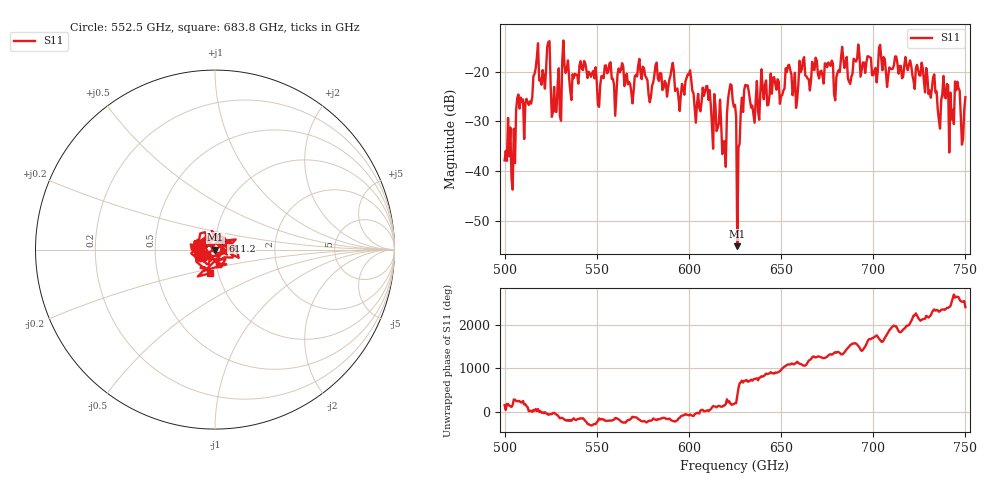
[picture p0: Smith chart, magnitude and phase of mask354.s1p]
!Created with skrf (http://scikit-rf.org).
# GHz S MA R 50.0
!freq magS11 angS11
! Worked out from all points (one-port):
!   401 points, 500 GHz to 750 GHz, reference 50 ohm
!   lowest |S11| = -55.2 dB at 626.2 GHz (marker M1), VSWR 1.00, Z = 50.2 + j0.0308 ohm
!   |S11| at or under -10 dB: start of sweep to end of sweep
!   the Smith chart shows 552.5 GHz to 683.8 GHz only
!   S11 on the Smith chart (normalised r, x): 552.5 GHz: 0.85, -0.07; 611.2 GHz: 1.08, +0.11; 683.8 GHz: 0.91, -0.25
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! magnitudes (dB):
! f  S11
! 500 GHz  -37.9
! 504.4 GHz  -43.8
! 507.5 GHz  -24.6
! 511.9 GHz  -25.5
! 516.9 GHz  -19.3
! 523.8 GHz  -14.0
! 526.9 GHz  -23.1
! 531.2 GHz  -18.1
! 552.5 GHz  -20.9
! 562.5 GHz  -20.2
! 593.8 GHz  -23.4
! 600 GHz  -20.6
! 611.2 GHz  -23.7
! 618.8 GHz  -34.1
! 622.5 GHz  -22.5
! 625 GHz  -26.7
! 626.2 GHz  -55.2
! 631.2 GHz  -22.9
! 635 GHz  -28.6
! 656.2 GHz  -24.8
! 683.8 GHz  -17.3
! 687.5 GHz  -22.5
! 718.8 GHz  -19.7
! 735.6 GHz  -29.7
! 739.4 GHz  -25.4
! 742.5 GHz  -29.7
! 745.6 GHz  -22.0
! 750 GHz  -25.1
